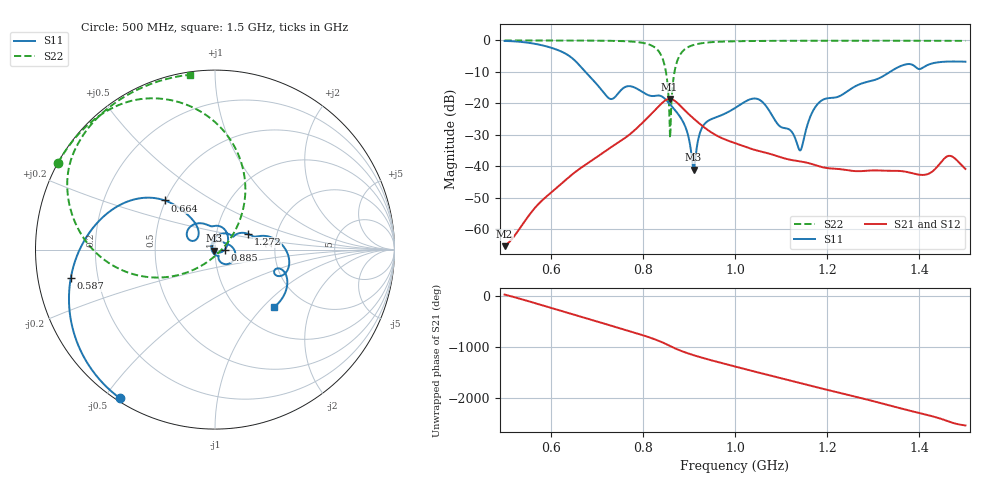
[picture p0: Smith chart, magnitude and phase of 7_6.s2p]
! TOUCHSTONE file generated by CST MICROWAVE STUDIO
! Date and time: Fri Oct  2 18:55:29 2020
! Project name: Scenario_1_Free_Space_out_of_line.cst
! Parameters = {Lambda=346.42; Step_1=17.321; dy1=243.594; dx1=1039; L_HA=400; MT=2.54; Rad_Dielectric=30; Rad_Lower=7.3; Rad_Upper=30; a_HA=580; a_WG=246; b_HA=500; b_WG=121; c_HA=0; c_WG=187; d_feed=85; h_feed=15; h_lower=18; h_upper=40}
! Header version: 2018
! Port assignment regex: !\s*Touchstone port\s*([0-9]+)\s*=\s*(CST MWS port|CST DS port)\s*([0-9]+|Zmin|Zmax)\s*\(\"(.*)\"\)(\s*mode\s*([0-9]+))?.*
! Touchstone port assignment:
! Touchstone port 1 = CST MWS port 1 ("")
! Touchstone port 2 = CST MWS port 2 ("")
# GHz S DB R 50
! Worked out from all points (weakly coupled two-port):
!   1003 points, 500 MHz to 1.5 GHz, reference 50 ohm
!   highest |S21| = -18.57 dB at 858 MHz (marker M1); lowest = -65.4 dB at 500 MHz (marker M2)
!   lowest |S11| = -41.0 dB at 910 MHz (marker M3), VSWR 1.02, Z = 49.4 - j0.637 ohm
!   |S11| at or under -10 dB: 675.4 MHz to 1.336 GHz (660.8 MHz wide, 65.7 % of centre)
!   |S22| runs from -31.0 to 0.0 dB; largest |S21 - S12| = 6.1e-05
!   S11 on the Smith chart (normalised r, x): 500 MHz: 0.01, -0.55; 587 MHz: 0.10, -0.10; 664 MHz: 0.49, +0.32; 885 MHz: 1.12, +0.00; 1.272 GHz: 1.42, +0.26; 1.5 GHz: 1.42, -1.16
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0.5  -0.15 -122.5  -65.39 37.5  -65.39 37.5  -0.01 151.2
0.587  -1.74 -169.0  -50.11 171.9  -50.11 171.9  -0.02 145.1
0.664  -8.15 135.6  -40.67 -33.7  -40.67 -33.7  -0.04 138.6
0.667  -8.64 134.2  -40.36 -41.9  -40.36 -41.9  -0.04 138.4
0.729  -18.57 143.6  -34.14 152.1  -34.14 152.1  -0.12 131.0
0.769  -14.52 140.9  -30.16 45.5  -30.16 45.5  -0.29 123.4
0.834  -17.50 82.8  -20.99 -149.8  -20.99 -149.8  -3.36 87.2
0.848  -18.57 58.2  -19.12 155.7  -19.12 155.7  -8.40 63.6
0.858  -20.14 42.4  -18.57 112.2  -18.57 112.2  -25.55 16.6
0.87  -22.19 25.0  -19.28 60.6  -19.28 60.6  -9.02 -153.9
0.885  -25.26 0.0  -21.32 4.8  -21.32 4.8  -3.67 -177.8
0.91  -41.05 -133.3  -24.80 -72.3  -24.80 -72.3  -1.44 163.1
0.933  -26.70 80.8  -27.60 -134.3  -27.60 -134.3  -0.78 154.0
1  -21.48 17.9  -32.64 65.1  -32.64 65.1  -0.27 140.4
1.054  -18.95 -42.5  -35.21 -60.8  -35.21 -60.8  -0.16 134.1
1.141  -34.97 -157.0  -38.44 100.0  -38.44 100.0  -0.10 126.3
1.167  -23.04 85.9  -39.30 39.3  -39.30 39.3  -0.10 124.3
1.272  -13.84 25.6  -41.55 168.9  -41.55 168.9  -0.08 116.2
1.334  -10.21 13.6  -41.43 24.6  -41.43 24.6  -0.09 111.5
1.415  -8.02 -17.1  -42.62 -159.6  -42.62 -159.6  -0.11 105.2
1.465  -6.71 -34.9  -36.68 61.8  -36.70 61.6  -0.12 101.0
1.5  -6.76 -44.5  -40.86 -12.1  -40.86 -12.1  -0.14 98.0
